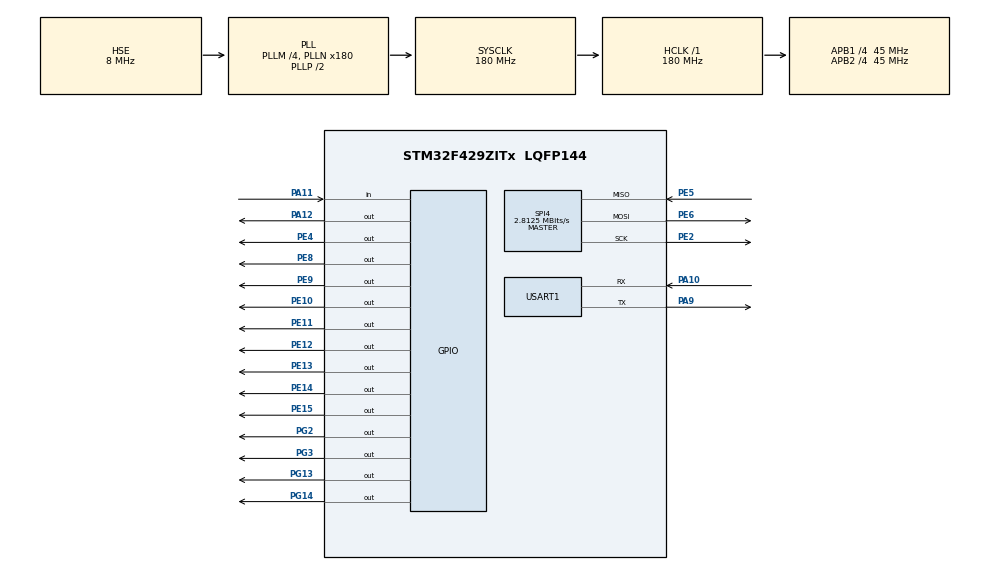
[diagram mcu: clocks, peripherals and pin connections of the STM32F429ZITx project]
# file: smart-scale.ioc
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Mcu.Family=STM32F4
Mcu.Name=STM32F429ZITx
Mcu.Package=LQFP144
NVIC.PriorityGroup=NVIC_PRIORITYGROUP_4
NVIC.TIM6_DAC_IRQn=true\:0\:0\:false\:false\:true\:true\:true\:true
NVIC.USART1_IRQn=true\:0\:0\:false\:false\:true\:true\:true\:true
PA10.Mode=Asynchronous
PA10.Signal=USART1_RX
PA11.Signal=GPIO_Input
PA12.Signal=GPIO_Output
PA9.Mode=Asynchronous
PA9.Signal=USART1_TX
PE10.Signal=GPIO_Output
PE11.Signal=GPIO_Output
PE12.Signal=GPIO_Output
PE13.Signal=GPIO_Output
PE14.Signal=GPIO_Output
PE15.Signal=GPIO_Output
PE2.Mode=Full_Duplex_Master
PE2.Signal=SPI4_SCK
PE4.Signal=GPIO_Output
PE5.Mode=Full_Duplex_Master
PE5.Signal=SPI4_MISO
PE6.Mode=Full_Duplex_Master
PE6.Signal=SPI4_MOSI
PE8.Signal=GPIO_Output
PE9.Signal=GPIO_Output
PG13.Signal=GPIO_Output
PG14.Signal=GPIO_Output
PG2.Signal=GPIO_Output
PG3.Signal=GPIO_Output
PH0/OSC_IN.Mode=HSE-External-Oscillator
PH0/OSC_IN.Signal=RCC_OSC_IN
PH1/OSC_OUT.Mode=HSE-External-Oscillator
PH1/OSC_OUT.Signal=RCC_OSC_OUT
ProjectManager.HeapSize=0x200
ProjectManager.StackSize=0x400
ProjectManager.TargetToolchain=STM32CubeIDE
RCC.48MHZClocksFreq_Value=90000000
RCC.AHBFreq_Value=180000000
RCC.APB1CLKDivider=RCC_HCLK_DIV4
RCC.APB1Freq_Value=45000000
RCC.APB1TimFreq_Value=90000000
RCC.APB2CLKDivider=RCC_HCLK_DIV4
RCC.APB2Freq_Value=45000000
RCC.APB2TimFreq_Value=90000000
RCC.CortexFreq_Value=180000000
RCC.HCLKFreq_Value=180000000
RCC.HSE_VALUE=8000000
RCC.HSI_VALUE=16000000
RCC.LSE_VALUE=32768
RCC.PLLM=4
RCC.PLLN=180
RCC.PLLSourceVirtual=RCC_PLLSOURCE_HSE
RCC.SYSCLKFreq_VALUE=180000000
RCC.SYSCLKSource=RCC_SYSCLKSOURCE_PLLCLK
RCC.VCOOutputFreq_Value=360000000
SPI4.BaudRatePrescaler=SPI_BAUDRATEPRESCALER_16
SPI4.CalculateBaudRate=2.8125 MBits/s
SPI4.Direction=SPI_DIRECTION_2LINES
SPI4.Mode=SPI_MODE_MASTER
SPI4.VirtualType=VM_MASTER
USART1.VirtualMode=VM_ASYNC
VP_TIM6_VS_ClockSourceINT.Mode=Enable_Timer
board=custom

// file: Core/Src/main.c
/* USER CODE BEGIN Header */
/**
  ******************************************************************************
  * @file           : main.c
  * @brief          : Main program body
  ******************************************************************************
  * @attention
  *
  * Copyright (c) 2025 STMicroelectronics.
  * All rights reserved.
  *
  * This software is licensed under terms that can be found in the LICENSE file
  * in the root directory of this software component.
  * If no LICENSE file comes with this software, it is provided AS-IS.
  *
  ******************************************************************************
  */
/* USER CODE END Header */
#include "main.h"

/* USER CODE BEGIN Includes */
#include <stdarg.h>
#include <math.h>
#include <stdio.h>
#include <string.h>
#include "tm_stm32f4_mfrc522.h"
#include "7seg.h"
#include "HX711.h"
/* USER CODE END Includes */

/* USER CODE BEGIN PTD */
typedef struct {
    uint8_t uid[5];      // UID card
    char name[100];      // name of card
    float   weight;      // weight
    uint32_t timestamp;  // timestamp (ms from system start)
} HistoryEntry;

typedef struct {
    float current_weight;
    float previous_weight;
    uint8_t weight_stable_count;
    uint8_t system_ready;
    uint32_t last_measurement_time;
    uint32_t last_display_time;
    float weight_threshold;
} scale_state_t;

typedef struct {
    float history[50];  // use MAX_WEIGHT_HISTORY #define
    int head;           // Next pointer
    int count;          // Total valid data
    float saved_weight; // Stable weight last scale
} WeightHistory;

typedef struct {
    uint8_t uid[5];
    WeightHistory weight_data;
    char name[100];
} CardData;

/* USER CODE END PTD */

/* USER CODE BEGIN PD */
// Config save history
#define MAX_WEIGHT_HISTORY 5    // Start save weight when have 5 stable weight
#define MAX_REGISTERED_CARDS 20 // Save 20 card max
#define MAX_WEIGHING_HISTORY 50 // Save latest 50 cards history

// Configuration constants
#define WEIGHT_STABILITY_THRESHOLD  0.01f  // 10g threshold for stability
#define WEIGHT_STABILITY_COUNT      5      // Number of stable readings required
#define MEASUREMENT_INTERVAL        100    // ms between measurements
#define DISPLAY_UPDATE_INTERVAL     500    // ms between display updates
#define WEIGHT_FILTER_ALPHA         0.3f   // Low-pass filter coefficient

//Config loadcell
#define HX711_DT_PORT     GPIOA
#define HX711_DT_PIN      GPIO_PIN_11
#define HX711_SCK_PORT    GPIOA
#define HX711_SCK_PIN     GPIO_PIN_12
#define SCALE_FACTOR      83000.0f  // Calibration factor (83000 for 10kg and 44000 for 20kg load cell)

/* USER CODE END PD */

SPI_HandleTypeDef hspi4;

TIM_HandleTypeDef htim6;

UART_HandleTypeDef huart1;

/* USER CODE BEGIN PV */

scale_state_t scale_state = {0};
HistoryEntry weighing_history[MAX_WEIGHING_HISTORY];

int history_count = 0; // Số mục hợp lệ trong lịch sử
int history_head = 0;  // Vị trí tiếp theo để ghi (đầu của bộ đệm)

hx711_t hx711;
char uart_buffer[128];
CardData card_database[MAX_REGISTERED_CARDS];
int registered_card_count = 0;

// Buffer for receive from UART
uint8_t uart_rx_buffer[64];
uint8_t uart_rx_data;
uint8_t uart_rx_index = 0;
volatile uint8_t uart_command_ready = 0;

/* USER CODE END PV */

void SystemClock_Config(void);
static void MX_GPIO_Init(void);
static void MX_SPI4_Init(void);
static void MX_USART1_UART_Init(void);
static void MX_TIM6_Init(void);
/* USER CODE BEGIN PFP */

void scale_init(void);
void scale_calibrate(void);
float scale_read_weight(void);
float scale_filter_weight(float raw_weight);
uint8_t scale_is_weight_stable(float weight);
void scale_display_weight(float weight);
void scale_process_rfid(float weight);
void scale_send_uart_data(const char* format, ...);
void scale_handle_error(const char* error_msg);
void add_to_weighing_history(CardData* card, float weight);
/* USER CODE END PFP */

int main(void)
{

  /* MCU Configuration--------------------------------------------------------*/

  /* Reset of all peripherals, Initializes the Flash interface and the Systick. */
  HAL_Init();

  /* Configure the system clock */
  SystemClock_Config();

  /* Initialize all configured peripherals */
  MX_GPIO_Init();
  MX_SPI4_Init();
  MX_USART1_UART_Init();
  MX_TIM6_Init();
  /* USER CODE BEGIN 2 */
  HAL_TIM_Base_Start_IT(&htim6);

  // Initialize scale system
  scale_init();

  //RFID
  TM_MFRC522_Init();
  scale_send_uart_data("Smart Scale System Initialized\r\n");

  HAL_UART_Receive_IT(&huart1, &uart_rx_data, 1);

  HAL_Delay(1000);
  scale_state.system_ready = 1;
  scale_state.last_measurement_time = HAL_GetTick();
  scale_state.last_display_time = HAL_GetTick();

  /* USER CODE END 2 */

  /* Infinite loop */
  /* USER CODE BEGIN WHILE */
  while (1)
  {
	  if (uart_command_ready) {
		   process_uart_command();
	   }

	  uint32_t current_time = HAL_GetTick();
	  // Periodic weight measurement
	  if (current_time - scale_state.last_measurement_time >= MEASUREMENT_INTERVAL) {
		  scale_state.last_measurement_time = current_time;
		  // Read and filter weight
		  float raw_weight = scale_read_weight();
		  float filtered_weight = scale_filter_weight(raw_weight);
		  scale_state.current_weight = filtered_weight;

		  // Check weight stability
		  if (scale_is_weight_stable(filtered_weight)) {
			  if (current_time - scale_state.last_display_time >= DISPLAY_UPDATE_INTERVAL) {
				  scale_state.last_display_time = current_time;
			  }
		  } else {
			  // Weight is not stable, but still update display more frequently for debugging
			  if (current_time - scale_state.last_display_time >= (DISPLAY_UPDATE_INTERVAL / 2)) {
				  scale_state.last_display_time = current_time;
				  scale_display_weight(scale_state.current_weight);
				  scale_process_rfid(scale_state.current_weight);
			  }
		  }
	  }
	  // Small delay to prevent excessive CPU usage
	  HAL_Delay(10);
  }
    /* USER CODE END WHILE */

}

void SystemClock_Config(void)
{
  RCC_OscInitTypeDef RCC_OscInitStruct = {0};
  RCC_ClkInitTypeDef RCC_ClkInitStruct = {0};

  /** Configure the main internal regulator output voltage
  */
  __HAL_RCC_PWR_CLK_ENABLE();
  __HAL_PWR_VOLTAGESCALING_CONFIG(PWR_REGULATOR_VOLTAGE_SCALE1);

  /** Initializes the RCC Oscillators according to the specified parameters
  * in the RCC_OscInitTypeDef structure.
  */
  RCC_OscInitStruct.OscillatorType = RCC_OSCILLATORTYPE_HSE;
  RCC_OscInitStruct.HSEState = RCC_HSE_ON;
  RCC_OscInitStruct.PLL.PLLState = RCC_PLL_ON;
  RCC_OscInitStruct.PLL.PLLSource = RCC_PLLSOURCE_HSE;
  RCC_OscInitStruct.PLL.PLLM = 4;
  RCC_OscInitStruct.PLL.PLLN = 180;
  RCC_OscInitStruct.PLL.PLLP = RCC_PLLP_DIV2;
  RCC_OscInitStruct.PLL.PLLQ = 4;
  if (HAL_RCC_OscConfig(&RCC_OscInitStruct) != HAL_OK)
  {
    Error_Handler();
  }

  /** Activate the Over-Drive mode
  */
  if (HAL_PWREx_EnableOverDrive() != HAL_OK)
  {
    Error_Handler();
  }

  /** Initializes the CPU, AHB and APB buses clocks
  */
  RCC_ClkInitStruct.ClockType = RCC_CLOCKTYPE_HCLK|RCC_CLOCKTYPE_SYSCLK
                              |RCC_CLOCKTYPE_PCLK1|RCC_CLOCKTYPE_PCLK2;
  RCC_ClkInitStruct.SYSCLKSource = RCC_SYSCLKSOURCE_PLLCLK;
  RCC_ClkInitStruct.AHBCLKDivider = RCC_SYSCLK_DIV1;
  RCC_ClkInitStruct.APB1CLKDivider = RCC_HCLK_DIV4;
  RCC_ClkInitStruct.APB2CLKDivider = RCC_HCLK_DIV4;

  if (HAL_RCC_ClockConfig(&RCC_ClkInitStruct, FLASH_LATENCY_5) != HAL_OK)
  {
    Error_Handler();
  }
}

static void MX_SPI4_Init(void)
{

  /* SPI4 parameter configuration*/
  hspi4.Instance = SPI4;
  hspi4.Init.Mode = SPI_MODE_MASTER;
  hspi4.Init.Direction = SPI_DIRECTION_2LINES;
  hspi4.Init.DataSize = SPI_DATASIZE_8BIT;
  hspi4.Init.CLKPolarity = SPI_POLARITY_LOW;
  hspi4.Init.CLKPhase = SPI_PHASE_1EDGE;
  hspi4.Init.NSS = SPI_NSS_SOFT;
  hspi4.Init.BaudRatePrescaler = SPI_BAUDRATEPRESCALER_16;
  hspi4.Init.FirstBit = SPI_FIRSTBIT_MSB;
  hspi4.Init.TIMode = SPI_TIMODE_DISABLE;
  hspi4.Init.CRCCalculation = SPI_CRCCALCULATION_DISABLE;
  hspi4.Init.CRCPolynomial = 10;
  if (HAL_SPI_Init(&hspi4) != HAL_OK)
  {
    Error_Handler();
  }

}

static void MX_TIM6_Init(void)
{

  TIM_MasterConfigTypeDef sMasterConfig = {0};

  htim6.Instance = TIM6;
  htim6.Init.Prescaler = 0;
  htim6.Init.CounterMode = TIM_COUNTERMODE_UP;
  htim6.Init.Period = 65535;
  htim6.Init.AutoReloadPreload = TIM_AUTORELOAD_PRELOAD_DISABLE;
  if (HAL_TIM_Base_Init(&htim6) != HAL_OK)
  {
    Error_Handler();
  }
  sMasterConfig.MasterOutputTrigger = TIM_TRGO_RESET;
  sMasterConfig.MasterSlaveMode = TIM_MASTERSLAVEMODE_DISABLE;
  if (HAL_TIMEx_MasterConfigSynchronization(&htim6, &sMasterConfig) != HAL_OK)
  {
    Error_Handler();
  }

}

static void MX_USART1_UART_Init(void)
{

  huart1.Instance = USART1;
  huart1.Init.BaudRate = 115200;
  huart1.Init.WordLength = UART_WORDLENGTH_8B;
  huart1.Init.StopBits = UART_STOPBITS_1;
  huart1.Init.Parity = UART_PARITY_NONE;
  huart1.Init.Mode = UART_MODE_TX_RX;
  huart1.Init.HwFlowCtl = UART_HWCONTROL_NONE;
  huart1.Init.OverSampling = UART_OVERSAMPLING_16;
  if (HAL_UART_Init(&huart1) != HAL_OK)
  {
    Error_Handler();
  }

}

static void MX_GPIO_Init(void)
{
  GPIO_InitTypeDef GPIO_InitStruct = {0};

  /* GPIO Ports Clock Enable */
  __HAL_RCC_GPIOE_CLK_ENABLE();
  __HAL_RCC_GPIOH_CLK_ENABLE();
  __HAL_RCC_GPIOG_CLK_ENABLE();
  __HAL_RCC_GPIOA_CLK_ENABLE();

  /*Configure GPIO pin Output Level */
  HAL_GPIO_WritePin(GPIOE, GPIO_PIN_4|GPIO_PIN_8|GPIO_PIN_9|GPIO_PIN_10
                          |GPIO_PIN_11|GPIO_PIN_12|GPIO_PIN_13|GPIO_PIN_14
                          |GPIO_PIN_15, GPIO_PIN_RESET);

  /*Configure GPIO pin Output Level */
  HAL_GPIO_WritePin(GPIOG, GPIO_PIN_2|GPIO_PIN_3|GPIO_PIN_13|GPIO_PIN_14, GPIO_PIN_RESET);

  /*Configure GPIO pin Output Level */
  HAL_GPIO_WritePin(GPIOA, GPIO_PIN_12, GPIO_PIN_RESET);

  /*Configure GPIO pins : PE4 PE8 PE9 PE10
                           PE11 PE12 PE13 PE14
                           PE15 */
  GPIO_InitStruct.Pin = GPIO_PIN_4|GPIO_PIN_8|GPIO_PIN_9|GPIO_PIN_10
                          |GPIO_PIN_11|GPIO_PIN_12|GPIO_PIN_13|GPIO_PIN_14
                          |GPIO_PIN_15;
  GPIO_InitStruct.Mode = GPIO_MODE_OUTPUT_PP;
  GPIO_InitStruct.Pull = GPIO_NOPULL;
  GPIO_InitStruct.Speed = GPIO_SPEED_FREQ_LOW;
  HAL_GPIO_Init(GPIOE, &GPIO_InitStruct);

  /*Configure GPIO pins : PG2 PG3 PG13 PG14 */
  GPIO_InitStruct.Pin = GPIO_PIN_2|GPIO_PIN_3|GPIO_PIN_13|GPIO_PIN_14;
  GPIO_InitStruct.Mode = GPIO_MODE_OUTPUT_PP;
  GPIO_InitStruct.Pull = GPIO_NOPULL;
  GPIO_InitStruct.Speed = GPIO_SPEED_FREQ_LOW;
  HAL_GPIO_Init(GPIOG, &GPIO_InitStruct);

  /*Configure GPIO pin : PA11 */
  GPIO_InitStruct.Pin = GPIO_PIN_11;
  GPIO_InitStruct.Mode = GPIO_MODE_INPUT;
  GPIO_InitStruct.Pull = GPIO_NOPULL;
  HAL_GPIO_Init(GPIOA, &GPIO_InitStruct);

  /*Configure GPIO pin : PA12 */
  GPIO_InitStruct.Pin = GPIO_PIN_12;
  GPIO_InitStruct.Mode = GPIO_MODE_OUTPUT_PP;
  GPIO_InitStruct.Pull = GPIO_NOPULL;
  GPIO_InitStruct.Speed = GPIO_SPEED_FREQ_LOW;
  HAL_GPIO_Init(GPIOA, &GPIO_InitStruct);

}

/* USER CODE BEGIN 4 */

CardData* find_or_register_card(uint8_t* card_uid) {
    // 1. Find existing card
    for (int i = 0; i < registered_card_count; i++) {
        if (memcmp(card_database[i].uid, card_uid, 5) == 0) {
            return &card_database[i];
        }
    }

    // 2. If no card found, register new card
    if (registered_card_count < MAX_REGISTERED_CARDS) {
        CardData* new_card = &card_database[registered_card_count];
        memcpy(new_card->uid, card_uid, 5);
        // Initialize weight history
        memset(&new_card->weight_data, 0, sizeof(WeightHistory));
        new_card->name[0] = '\0';
        registered_card_count++;
        scale_send_uart_data("New card registered. Total: %d\r\n", registered_card_count);
        return new_card;
    }

    // 3. If database is full
    scale_send_uart_data("ERROR: Card database is full. Cannot register new card.\r\n");
    return NULL;
}

void push_weight_to_history(WeightHistory* history, float weight) {
    history->history[history->head] = weight;
    history->head = (history->head + 1) % MAX_WEIGHT_HISTORY;
    if (history->count < MAX_WEIGHT_HISTORY) {
        history->count++;
    }
}

uint8_t are_all_weights_stable(WeightHistory* history) {
    if (history->count < MAX_WEIGHT_HISTORY) {
        return 0;
    }

    float first_weight = history->history[0];
    for (int i = 1; i < MAX_WEIGHT_HISTORY; i++) {
        if (fabsf(history->history[i] - first_weight) > WEIGHT_STABILITY_THRESHOLD) {
            return 0;
        }
    }

    return 1;
}

void process_uart_command(void) {
    uart_rx_buffer[strlen((char*)uart_rx_buffer) - 1] = 0; // Set the last character = NULL
    char* command = (char*)uart_rx_buffer;

    if (strcmp(command, "LIST") == 0) {
        scale_send_uart_data("\r\n--- Registered Card List ---\r\n");
        if (registered_card_count == 0) {
            scale_send_uart_data("No cards registered yet.\r\n");
        } else {
            for (int i = 0; i < registered_card_count; i++) {
                const char* display_name = (card_database[i].name[0] == '\0') ? "(not set)" : card_database[i].name;
            	scale_send_uart_data(
			"Card %d | Name: %-15s | UID: %02X%02X%02X%02X%02X | Saved Weight: %.1f kg\r\n",
			 i + 1,
		 	display_name,
		 	card_database[i].uid[0], card_database[i].uid[1], card_database[i].uid[2], card_database[i].uid[3], card_database[i].uid[4],
		 	card_database[i].weight_data.saved_weight
		);
            }
        }
        scale_send_uart_data("----------------------------\r\n");
    } else if (strncmp(command, "SET ", 4) == 0) {
        char name_to_set[100];
        int card_index;
        if (sscanf(command, "SET %s %d", name_to_set, &card_index) == 2) {
            // Validate card index input
            if (card_index > 0 && card_index <= registered_card_count) {
                // Transform user input to card index
                CardData* card = &card_database[card_index - 1];

                // Copy user input card name to card name
                strncpy(card->name, name_to_set, sizeof(card->name) - 1);
                card->name[sizeof(card->name) - 1] = '\0';

                scale_send_uart_data("Success: Name '%s' has been set for Card %d.\r\n", card->name, card_index);
            } else {
                scale_send_uart_data("Error: Invalid card index. Please use an index from 1 to %d.\r\n", registered_card_count);
            }
        } else {
            scale_send_uart_data("Error: Invalid command format. Use: SET <name> <index>\r\n");
        }
    } else if (strcmp(command, "HISTORY") == 0) {
        scale_send_uart_data("\r\n--- Weighing History (Oldest to Newest) ---\r\n");
        if (history_count == 0) {
            scale_send_uart_data("History is empty.\r\n");
        } else {
            int start_index = 0;
            if (history_count == MAX_WEIGHING_HISTORY) {
                start_index = history_head;
            }

            for (int i = 0; i < history_count; i++) {
                int current_index = (start_index + i) % MAX_WEIGHING_HISTORY;
                HistoryEntry* entry = &weighing_history[current_index];
                const char* display_name = (entry->name[0] == '\0') ? "(not set)" : entry->name;

                scale_send_uart_data(
			"#%d | Time: %lu ms | Name: %-15s | Weight: %.1f kg\r\n",
		     	i + 1,
		     	entry->timestamp,
		     	display_name,
		     	entry->weight
		);
            }
        }
        scale_send_uart_data("--------------------------------------------\r\n");
    }
    else {
        scale_send_uart_data("Unknown command: %s\r\n", uart_rx_buffer);
    }

    // Reset buffer and flag
    memset(uart_rx_buffer, 0, sizeof(uart_rx_buffer));
    uart_rx_index = 0;
    uart_command_ready = 0;
}

void HAL_UART_RxCpltCallback(UART_HandleTypeDef *huart) {
    if (huart->Instance == USART1) {
        if (uart_rx_data == '\n' || uart_rx_data == '\r' || uart_rx_index >= sizeof(uart_rx_buffer) - 1) {
            uart_rx_buffer[uart_rx_index] = '\0'; // End of buffer
            if (uart_rx_index > 0) {
                uart_command_ready = 1; // Turn on flag
            }
            uart_rx_index = 0;
        } else {
            uart_rx_buffer[uart_rx_index++] = uart_rx_data;
        }
        // Kích hoạt lại ngắt nhận UART cho byte tiếp theo
        HAL_UART_Receive_IT(&huart1, &uart_rx_data, 1);
    }
}

void save_weight_to_rfid_card(uint8_t* card_uid, float weight) {
    scale_send_uart_data("------ SAVING TO CARD ------\r\n");
    scale_send_uart_data("Card UID: %02X%02X%02X%02X%02X\r\n",
                         card_uid[0], card_uid[1], card_uid[2], card_uid[3], card_uid[4]);
    scale_send_uart_data("Saving Weight: %.1f kg\r\n", weight);
    scale_send_uart_data("--------------------------\r\n");
}

void scale_init(void)
{
    scale_send_uart_data("Initializing HX711 load cell...\r\n");
    hx711_init(&hx711, HX711_SCK_PORT, HX711_SCK_PIN, HX711_DT_PORT, HX711_DT_PIN);
    set_gain(&hx711, 128, 32);

    if (is_ready(&hx711)) {
	scale_send_uart_data("HX711 is ready!\r\n");
    } else {
	scale_send_uart_data("HX711 is NOT ready!\r\n");
    }

    set_scale(&hx711, SCALE_FACTOR, SCALE_FACTOR);
    scale_calibrate();

    // Initialize state variables
    scale_state.current_weight = 0.0f;
    scale_state.previous_weight = 0.0f;
    scale_state.weight_stable_count = 0;
    scale_state.weight_threshold = WEIGHT_STABILITY_THRESHOLD;

    HAL_GPIO_WritePin(GPIOG, GPIO_PIN_14, GPIO_PIN_SET); // Turn on green LED when scale initialization complete
    scale_send_uart_data("Scale initialization complete\r\n");
}

void scale_calibrate(void)
{
    scale_send_uart_data("Calibrating scale... Please ensure scale is empty\r\n");
    HAL_Delay(2000);
    tare_all(&hx711, 10);
    scale_send_uart_data("Scale calibration complete\r\n");
}

float scale_read_weight(void)
{
    if (!is_ready(&hx711)) return 0.0f;
    float weight = get_weight(&hx711, 10, CHANNEL_A);
    return (weight < 0.0f) ? 0.0f : weight;
}

float scale_filter_weight(float raw_weight)
{
    static float filtered_weight = 0.0f;
    static uint8_t first_reading = 1;

    if (first_reading) {
        filtered_weight = raw_weight;
        first_reading = 0;
    } else {
        // Simple low-pass filter: y[n] = α * x[n] + (1-α) * y[n-1]
        filtered_weight = WEIGHT_FILTER_ALPHA * raw_weight + (1.0f - WEIGHT_FILTER_ALPHA) * filtered_weight;
    }

    return filtered_weight;
}

uint8_t scale_is_weight_stable(float weight)
{
    float weight_diff = fabsf(weight - scale_state.previous_weight);

    if (weight_diff < scale_state.weight_threshold) {
        scale_state.weight_stable_count++;
        if (scale_state.weight_stable_count >= WEIGHT_STABILITY_COUNT) {
            scale_state.weight_stable_count = WEIGHT_STABILITY_COUNT;  // Cap the counter
            scale_state.previous_weight = weight;
            return 1;
        }
    } else {
        scale_state.weight_stable_count = 0;
        scale_state.previous_weight = weight;
    }

    return 0;
}

void scale_display_weight(float weight)
{
    if (weight < 0.0f) weight = 0.0f;
    if (weight > 9.9f) weight = 9.9f;

    int display_value = (int)(weight * 10 + 0.5f);
    Set7SegDisplayWithDecimal(display_value, 1);
    Run7SegDisplay();
    scale_send_uart_data("Weight: %d (display_value) = %.3f kg\r\n", display_value, weight);
}

void scale_process_rfid(float weight)
{
    uint8_t CardUID[5];

    if (TM_MFRC522_Check(CardUID) == MI_OK) {
        CardData* current_card = find_or_register_card(CardUID);
	if (current_card == NULL) {
		scale_send_uart_data("Full database\r\n");
		// Error: Database if full
		return;
	}

	push_weight_to_history(&current_card->weight_data, weight);

	if (are_all_weights_stable(&current_card->weight_data)) {
		float stable_weight = current_card->weight_data.history[0]; // Get stable value

		// Only save new stable value if it different from with old one
		if (fabsf(stable_weight - current_card->weight_data.saved_weight) >= 0.1f) {
			save_weight_to_rfid_card(current_card->uid, stable_weight);
			current_card->weight_data.saved_weight = stable_weight;
			add_to_weighing_history(current_card, stable_weight);
		}
	}

	scale_send_uart_data("Card: %02X%02X%02X%02X%02X | Weight: %.1f kg | History Cnt: %d\r\n",
			CardUID[0], CardUID[1], CardUID[2], CardUID[3], CardUID[4], weight, current_card->weight_data.count);
    }
}

void add_to_weighing_history(CardData* card, float weight) {
    HistoryEntry* new_entry = &weighing_history[history_head];

    memcpy(new_entry->uid, card->uid, 5);
    strncpy(new_entry->name, card->name, sizeof(new_entry->name) - 1);
    new_entry->name[sizeof(new_entry->name) - 1] = '\0';
    new_entry->weight = weight;
    new_entry->timestamp = HAL_GetTick();
    history_head = (history_head + 1) % MAX_WEIGHING_HISTORY;
    if (history_count < MAX_WEIGHING_HISTORY) {
        history_count++;
    }

    scale_send_uart_data("OK: New entry added to weighing history.\r\n");
}

void scale_send_uart_data(const char* format, ...)
{
    va_list args;
    va_start(args, format);

    int len = vsnprintf(uart_buffer, sizeof(uart_buffer), format, args);

    va_end(args);

    if (len > 0 && len < sizeof(uart_buffer)) {
        HAL_UART_Transmit(&huart1, (uint8_t*)uart_buffer, len, 1000);
    }
}

void scale_handle_error(const char* error_msg)
{
    scale_send_uart_data("ERROR: %s\r\n", error_msg);

    // Flash both LEDs to indicate error
    for (int i = 0; i < 5; i++) {
        HAL_GPIO_WritePin(GPIOG, GPIO_PIN_13 | GPIO_PIN_14, GPIO_PIN_SET);
        HAL_Delay(200);
        HAL_GPIO_WritePin(GPIOG, GPIO_PIN_13 | GPIO_PIN_14, GPIO_PIN_RESET);
        HAL_Delay(200);
    }
}

/* USER CODE END 4 */

void Error_Handler(void)
{
  __disable_irq();
  while (1)
  {
  }
}
